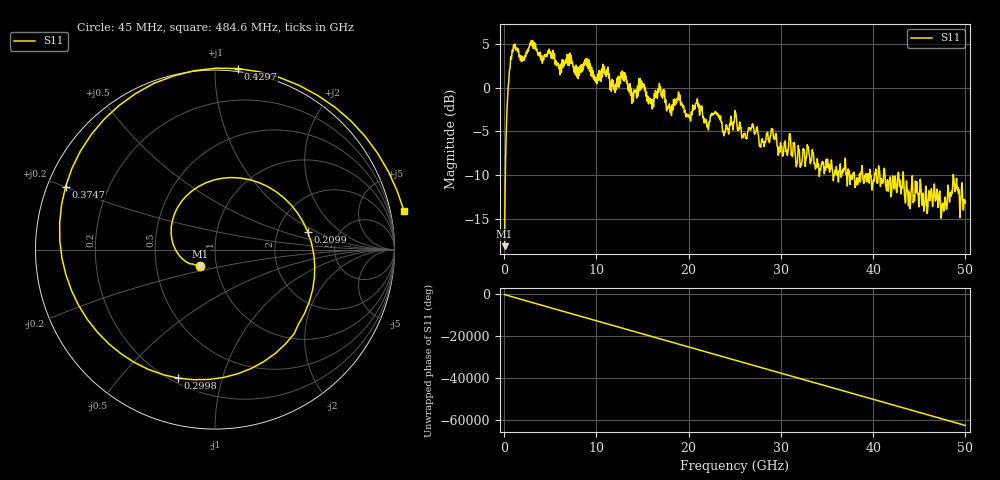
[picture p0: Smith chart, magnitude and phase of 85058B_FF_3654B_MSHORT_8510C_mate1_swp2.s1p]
!Created with skrf (http://scikit-rf.org).
# Hz S RI R 50.0
!freq ReS11 ImS11
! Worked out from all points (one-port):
!   10001 points, 45 MHz to 50 GHz, reference 50 ohm
!   lowest |S11| = -18.2 dB at 45 MHz (marker M1), VSWR 1.28, Z = 41.8 - j7.88 ohm
!   |S11| at or under -10 dB: 41.28 GHz to 42.66 GHz (1.382 GHz wide, 3.29 % of centre); 43.28 GHz to 48.67 GHz (5.387 GHz wide, 11.7 % of centre); 48.69 GHz to end of sweep (the widest 3 of 23)
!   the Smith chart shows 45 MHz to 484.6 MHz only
!   S11 on the Smith chart (normalised r, x): 45 MHz: 0.84, -0.16; 209.9 MHz: 2.98, +0.80; 299.8 MHz: 0.23, -0.73; 374.7 MHz: 0.05, +0.20; 429.7 MHz: -0.02, +1.13; 484.6 MHz: -3.12, +8.72
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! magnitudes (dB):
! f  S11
! 45 MHz  -18.2
! 209.9 MHz  -5.6
! 299.8 MHz  -2.6
! 374.7 MHz  -0.9
! 429.7 MHz  0.1
! 484.6 MHz  0.6
! 1.169 GHz  5.0
! 6.289 GHz  3.2
! 12.53 GHz  1.2
! 14.96 GHz  0.1
! 15.98 GHz  -1.4
! 16.88 GHz  -0.1
! 17.92 GHz  -1.9
! 18.78 GHz  -1.2
! 20.01 GHz  -3.2
! 20.91 GHz  -1.4
! 21.94 GHz  -3.9
! 22.97 GHz  -2.9
! 23.86 GHz  -5.2
! 25.02 GHz  -2.7
! 25.98 GHz  -5.3
! 31.27 GHz  -7.8
! 37.51 GHz  -11.0
! 43.76 GHz  -11.9
! 46.76 GHz  -13.0
! 47.54 GHz  -13.2
! 48.86 GHz  -11.9
! 50 GHz  -13.1
